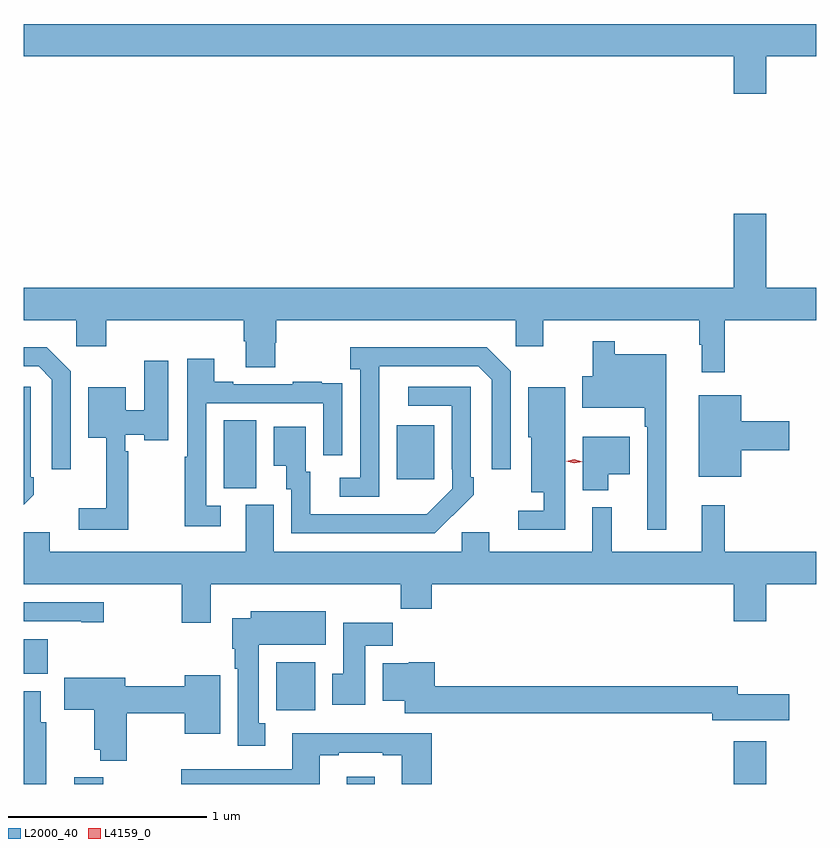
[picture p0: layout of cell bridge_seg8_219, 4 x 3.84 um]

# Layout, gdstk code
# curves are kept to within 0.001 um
import gdstk
lib = gdstk.Library(unit=1e-6, precision=1e-09)
def R(c, l, rs):  # rectangles x0, y0, x1, y1
    for r in rs: c.add(gdstk.rectangle(r[:2], r[2:], *l))
def P(c, l, *ps):  # polygons
    for p in ps: c.add(gdstk.Polygon(p, *l))
L2000_40 = (2000, 40)
L4159_0 = (4159, 0)

bridge_seg8_219 = lib.new_cell('bridge_seg8_219')
R(bridge_seg8_219, L2000_40, [(137.702,1111.495,137.85,1111.528), (139.079,1111.495,139.219,1111.531), (141.032,1111.495,141.196,1111.711), (138.722,1111.868,138.919,1112.11), (137.448,1112.051,137.569,1112.227), (138.458,1112.989,138.622,1113.332), (139.331,1113.033,139.519,1113.307)])
P(bridge_seg8_219, L2000_40, [(141.196,1115.168),(141.448,1115.168),(141.448,1115.332),(137.448,1115.332),(137.448,1115.168),(141.032,1115.168),(141.032,1114.98),(141.196,1114.98)],
  [(140.987,1113.836),(141.448,1113.836),(141.448,1114),(141.196,1114),(141.196,1114.375),(141.032,1114.375),(141.032,1114),(137.448,1114),(137.448,1113.836),(137.712,1113.836),(137.712,1113.705),(137.864,1113.705),(137.864,1113.836),(138.557,1113.836),(138.557,1113.73),(138.569,1113.73),(138.569,1113.598),(138.717,1113.598),(138.717,1113.723),(138.722,1113.723),(138.722,1113.836),(139.932,1113.836),(139.932,1113.705),(140.071,1113.705),(140.071,1113.836),(140.859,1113.836),(140.859,1113.713),(140.87,1113.713),(140.87,1113.573),(140.987,1113.573)],
  [(140.692,1113.664),(140.431,1113.664),(140.431,1113.73),(140.32,1113.73),(140.32,1113.553),(140.268,1113.553),(140.268,1113.395),(140.583,1113.395),(140.583,1113.299),(140.595,1113.299),(140.595,1112.778),(140.692,1112.778)],
  [(139.242,1113.403),(139.243,1113.603),(139.743,1113.603),(139.809,1113.537),(139.809,1113.084),(139.905,1113.084),(139.905,1113.579),(139.784,1113.7),(139.095,1113.7),(139.095,1113.59),(139.146,1113.59),(139.146,1113.042),(139.044,1113.042),(139.044,1112.946),(139.242,1112.946)],
  [(137.685,1113.579),(137.564,1113.7),(137.448,1113.7),(137.448,1113.603),(137.523,1113.603),(137.589,1113.537),(137.589,1113.084),(137.685,1113.084)],
  [(138.442,1112.901),(138.369,1112.901),(138.369,1113.417),(138.96,1113.417),(138.96,1113.156),(139.056,1113.156),(139.056,1113.41),(139.055,1113.41),(139.055,1113.519),(138.953,1113.519),(138.953,1113.526),(138.805,1113.526),(138.805,1113.513),(138.505,1113.513),(138.505,1113.526),(138.409,1113.526),(138.409,1113.643),(138.273,1113.643),(138.273,1113.146),(138.261,1113.146),(138.261,1112.796),(138.442,1112.796)],
  [(137.974,1113.176),(137.961,1113.176),(137.961,1113.257),(138.056,1113.257),(138.056,1113.23),(138.178,1113.23),(138.178,1113.631),(138.056,1113.631),(138.056,1113.382),(137.962,1113.382),(137.962,1113.499),(137.774,1113.499),(137.774,1113.242),(137.864,1113.242),(137.864,1112.887),(137.724,1112.887),(137.724,1112.778),(137.974,1112.778)],
  [(137.499,1112.955),(137.499,1113.043),(137.484,1113.043),(137.484,1113.501),(137.448,1113.501),(137.448,1112.904)],
  [(139.613,1112.851),(139.614,1112.85),(139.719,1112.955),(139.719,1113.043),(139.704,1113.043),(139.704,1113.501),(139.389,1113.501),(139.389,1113.405),(139.608,1113.405),(139.608,1113.085),(139.611,1113.085),(139.611,1112.985),(139.483,1112.857),(138.895,1112.856),(138.895,1113.072),(138.871,1113.072),(138.871,1113.298),(138.71,1113.298),(138.71,1113.101),(138.773,1113.101),(138.773,1112.982),(138.798,1112.982),(138.798,1112.76),(139.522,1112.76)],
  [(140.181,1113.114),(140.182,1113.114),(140.182,1113.499),(139.994,1113.499),(139.994,1113.246),(140.009,1113.246),(140.009,1112.969),(140.073,1112.969),(140.073,1112.874),(139.944,1112.874),(139.944,1112.778),(140.181,1112.778)],
  [(141.07,1113.179),(141.313,1113.179),(141.313,1113.326),(141.07,1113.326),(141.07,1113.457),(140.855,1113.457),(140.855,1113.047),(141.07,1113.047)],
  [(140.398,1113.059),(140.506,1113.059),(140.506,1113.247),(140.27,1113.247),(140.27,1112.978),(140.398,1112.978)],
  [(140.987,1112.902),(140.87,1112.902),(140.87,1112.668),(140.417,1112.668),(140.417,1112.893),(140.318,1112.893),(140.318,1112.668),(139.798,1112.668),(139.798,1112.766),(139.659,1112.766),(139.659,1112.668),(138.709,1112.668),(138.709,1112.904),(138.569,1112.904),(138.569,1112.668),(137.578,1112.668),(137.578,1112.766),(137.448,1112.766),(137.448,1112.504),(138.244,1112.504),(138.244,1112.31),(138.391,1112.31),(138.391,1112.504),(139.351,1112.504),(139.351,1112.38),(139.508,1112.38),(139.508,1112.504),(141.032,1112.504),(141.032,1112.316),(141.196,1112.316),(141.196,1112.504),(141.448,1112.504),(141.448,1112.668),(140.987,1112.668)],
  [(137.851,1112.412),(137.448,1112.412),(137.448,1112.316),(137.738,1112.316),(137.738,1112.311),(137.851,1112.311)],
  [(138.667,1111.802),(138.634,1111.802),(138.634,1112.198),(138.973,1112.198),(138.973,1112.368),(138.593,1112.368),(138.593,1112.332),(138.5,1112.332),(138.5,1112.178),(138.512,1112.178),(138.512,1112.078),(138.527,1112.078),(138.527,1111.689),(138.667,1111.689)],
  [(139.171,1112.192),(139.31,1112.192),(139.31,1112.31),(139.061,1112.31),(139.061,1112.052),(139.004,1112.052),(139.004,1111.896),(139.171,1111.896)],
  [(141.313,1111.947),(141.052,1111.947),(141.052,1111.988),(139.523,1111.988),(139.523,1112.11),(139.392,1112.11),(139.392,1112.104),(139.259,1112.104),(139.259,1111.916),(139.37,1111.916),(139.37,1111.852),(140.924,1111.852),(140.924,1111.817),(141.313,1111.817)],
  [(137.967,1111.852),(138.26,1111.852),(138.26,1111.748),(138.439,1111.748),(138.439,1112.044),(138.26,1112.044),(138.26,1111.988),(137.959,1111.988),(137.959,1112.032),(137.652,1112.032),(137.652,1111.87),(137.804,1111.87),(137.804,1111.667),(137.834,1111.667),(137.834,1111.613),(137.967,1111.613)],
  [(137.56,1111.806),(137.533,1111.806),(137.533,1111.963),(137.448,1111.963),(137.448,1111.495),(137.56,1111.495)],
  [(138.943,1111.641),(139.039,1111.641),(139.039,1111.653),(139.259,1111.653),(139.259,1111.641),(139.355,1111.641),(139.355,1111.495),(139.508,1111.495),(139.508,1111.75),(138.803,1111.75),(138.803,1111.569),(138.243,1111.569),(138.243,1111.495),(138.943,1111.495)])
P(bridge_seg8_219, L4159_0, [(140.226,1113.114),(140.186,1113.124),(140.186,1113.124),(140.186,1113.124),(140.226,1113.134),(140.266,1113.123),(140.266,1113.123),(140.266,1113.123)])

lib.write_gds('bridge_seg8_219.gds')
